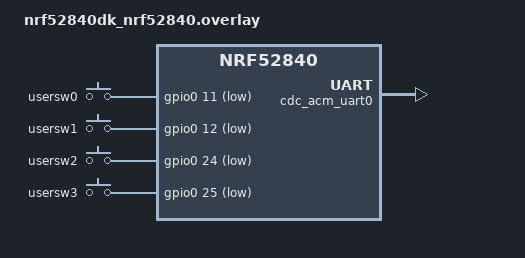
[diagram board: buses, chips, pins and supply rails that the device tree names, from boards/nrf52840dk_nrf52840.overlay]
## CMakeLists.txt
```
#
# Copyright (c) 2020 Nordic Semiconductor ASA
#
# SPDX-License-Identifier: LicenseRef-Nordic-5-Clause
#

cmake_minimum_required(VERSION 3.20.0)

find_package(Zephyr REQUIRED HINTS $ENV{ZEPHYR_BASE})

project("Light Switch")

target_sources(app PRIVATE
  src/main.c
)

target_include_directories(app PRIVATE include)
```

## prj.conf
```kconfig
#
# Copyright (c) 2020 Nordic Semiconductor ASA
#
# SPDX-License-Identifier: LicenseRef-Nordic-5-Clause
#

CONFIG_NCS_SAMPLES_DEFAULTS=y

CONFIG_UART_INTERRUPT_DRIVEN=y
CONFIG_GPIO=y

# Make sure printk is not printing to the UART console
CONFIG_CONSOLE=y
CONFIG_UART_CONSOLE=y
CONFIG_SERIAL=n

# Log to RTT over SWD pins (view with J-Link RTT Viewer app)
CONFIG_USE_SEGGER_RTT=y
CONFIG_LOG_BACKEND_RTT=y
CONFIG_LOG_MODE_DEFERRED=y
CONFIG_LOG_BACKEND_RTT_MODE_DROP=y

CONFIG_HEAP_MEM_POOL_SIZE=2048

CONFIG_ZIGBEE=y
CONFIG_ZIGBEE_APP_UTILS=y
CONFIG_ZIGBEE_ROLE_END_DEVICE=y
CONFIG_ZIGBEE_CHANNEL_SELECTION_MODE_MULTI=y

# Enable DK LED and Buttons library
CONFIG_DK_LIBRARY=y

# This example requires more workqueue stack
CONFIG_SYSTEM_WORKQUEUE_STACK_SIZE=2048

# Enable nRF ECB driver
CONFIG_CRYPTO=y
CONFIG_CRYPTO_NRF_ECB=y
CONFIG_CRYPTO_INIT_PRIORITY=80

# Cryptocell is not supported through CSPRNG driver API: NCSDK-4813
CONFIG_ENTROPY_CC3XX=n

# Enable API for powering down unused RAM parts
CONFIG_RAM_POWER_DOWN_LIBRARY=y

#Networking
CONFIG_NET_IPV6=n
CONFIG_NET_IP_ADDR_CHECK=n
CONFIG_NET_UDP=n
```

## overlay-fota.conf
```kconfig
#######################
# Zigbee FOTA overlay #
#######################

# Enable Zigbee FOTA library
CONFIG_ZIGBEE_FOTA=y
CONFIG_ZIGBEE_FOTA_HW_VERSION=52
CONFIG_ZIGBEE_FOTA_ENDPOINT=99
CONFIG_ZIGBEE_FOTA_COMMENT="light-switch"
CONFIG_ZIGBEE_FOTA_LOG_LEVEL_DBG=y

# Since we don't have our own manufacturer ID, use Nordic's ID with a
# custom image number
CONFIG_ZIGBEE_FOTA_MANUFACTURER_ID=0x127F

# 0x7702 devices used an old, incompatible cluster list. Bumped to 0x7703
# because it's not possible to change this with an OTA.
# CONFIG_ZIGBEE_FOTA_IMAGE_TYPE=0x7702
CONFIG_ZIGBEE_FOTA_IMAGE_TYPE=0x7703

# Ensure an MCUboot-compatible binary is generated.
CONFIG_IMG_MANAGER=y
CONFIG_DFU_TARGET_MCUBOOT=y
CONFIG_IMG_ERASE_PROGRESSIVELY=y
CONFIG_ZIGBEE_FOTA_PROGRESS_EVT=y

# Restart OTA updates from the beginning after a reset
CONFIG_DFU_TARGET_STREAM_SAVE_PROGRESS=n

# Increase the number of RX buffers
CONFIG_NRF_802154_RX_BUFFERS=32
```

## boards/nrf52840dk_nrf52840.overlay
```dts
/*
 * Copyright (c) 2020 Nordic Semiconductor ASA
 *
 * SPDX-License-Identifier: LicenseRef-Nordic-5-Clause
 */

/ {
	chosen {
		zephyr,entropy = &rng;
		ncs,zboss-trace-uart = &cdc_acm_uart0;
	};

	usersw {
		compatible = "gpio-keys";

		usersw0: usersw_0 {
			gpios = <&gpio0 11 (GPIO_PULL_UP | GPIO_ACTIVE_LOW)>;
			label = "usersw0";
		};

		usersw1: usersw_1 {
			gpios = <&gpio0 12 (GPIO_PULL_UP | GPIO_ACTIVE_LOW)>;
			label = "usersw1";
		};

		usersw2: usersw_2 {
			gpios = <&gpio0 24 (GPIO_PULL_UP | GPIO_ACTIVE_LOW)>;
			label = "usersw2";
		};

		usersw3: usersw_3 {
			gpios = <&gpio0 25 (GPIO_PULL_UP | GPIO_ACTIVE_LOW)>;
			label = "usersw3";
		};
	};
};

&zephyr_udc0 {
	cdc_acm_uart0: cdc_acm_uart0 {
		compatible = "zephyr,cdc-acm-uart";
		label = "CDC_ACM_0";
	};
};
```

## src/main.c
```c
/*
 * Copyright (c) 2020 Nordic Semiconductor ASA
 *
 * SPDX-License-Identifier: LicenseRef-Nordic-5-Clause
 */

/** @file
 * @brief Dimmer switch for HA profile implementation.
 */

#include <zephyr/device.h>
#include <zephyr/kernel.h>
#include <zephyr/logging/log.h>
#include <zephyr/drivers/gpio.h>
#include <zephyr/sys/__assert.h>
#include <zephyr/sys/reboot.h>

#include <ram_pwrdn.h>
#include <zboss_api.h>
#include <zboss_api_addons.h>
#include <zigbee/zigbee_app_utils.h>
#include <zigbee/zigbee_error_handler.h>
#include <zb_nrf_platform.h>
#include <zb_zcl_level_control.h>

#include "zb_mem_config_custom_max.h"

#define ZB_HA_DEFINE_DEVICE_DIMMER_SWITCH
#include "zb_ha_dimmer_switch.h"

#if CONFIG_ZIGBEE_FOTA
#include <zigbee/zigbee_fota.h>
#include <zephyr/dfu/mcuboot.h>

extern zb_af_endpoint_desc_t zigbee_fota_client_ep;
#endif /* CONFIG_ZIGBEE_FOTA */

#define MAX_INPUT_BUTTONS		6
#define BUTTON_ENDPOINT_BASE		10

// Hold down button0 for 8 seconds to reset the switch
#define RESET_BUTTON			0

/*
 * A lithium AAA cell is about 1200mAh = 4320C (Coulombs).
 * A CR123A is about 1500mAh = 5400C.
 * Steady state power consumption is ~1.5C per day.
 *
 * One single failed rejoin "cycle" consumes ~0.65C.  Repeating these
 * cycles over and over again would quickly drain the battery.
 *
 * So, to conserve battery life, zigbee_app_utils stops rejoin attempts
 * after ZB_DEV_REJOIN_TIMEOUT_MS if the network disappears (like during
 * a power outage).  It will not attempt another rejoin until
 * user_input_indicate() is called.
 *
 * Unfortunately that means that even many hours after the power outage is
 * over, the switch will be temporarily unresponsive to user input.
 * We can work around this by periodically making rejoin attempts, up
 * to a limit.
 */
#define REJOIN_INTERVAL_MS		(60 * 60 * 1000)
#define REJOIN_ATTEMPT_LIMIT		24

// Long press for full brightness
#define DEFAULT_LONG_PRESS_TIME_MS	1000

// Extra long press for device reboot
#define DEFAULT_REBOOT_PRESS_TIME_MS	7000

// Hold down internal SW0 at boot time for factory (NVRAM) reset
#define FACTORY_RESET_DURATION_MS			2000

/* Do not erase NVRAM to save the network parameters after device reboot or
 * power-off. NOTE: If this option is set to ZB_TRUE then do full device erase
 * for all network devices before running other samples.
 */
#define ERASE_PERSISTENT_CONFIG    ZB_FALSE

struct sw {
	zb_uint8_t button_idx;
	const struct gpio_dt_spec *gpio;
	struct k_work button_pressed_work;
	struct k_work button_released_work;
	struct k_timer button_debounce_timer;
	struct k_timer button_press_timer;
	struct gpio_callback button_cb;
	uint64_t press_time;
};
static struct sw button_sw[MAX_INPUT_BUTTONS];

#if DT_NODE_EXISTS(DT_ALIAS(led0_green))
#define USE_LEDS		1
#else
#define USE_LEDS		0
#endif

#define LED_MASK_ACT		BIT(3)
#define LED_MASK_RED		BIT(2)
#define LED_MASK_GREEN		BIT(1)
#define LED_MASK_BLUE		BIT(0)

struct led_state {
	const struct gpio_dt_spec *act_gpio;
	const struct gpio_dt_spec *red_gpio;
	const struct gpio_dt_spec *green_gpio;
	const struct gpio_dt_spec *blue_gpio;

	struct k_timer led_timer;
};
static struct led_state led_state;
static bool is_joined = false;
static int rejoin_timeouts = 0;

static void led_pulse(struct led_state *state, zb_uint32_t mask);

LOG_MODULE_REGISTER(app, LOG_LEVEL_INF);

#define BASIC_MANUF_NAME		"Nordic"
#define BASIC_MODEL_ID			"Light_Switch"

static zb_zcl_basic_attrs_ext_t basic_attr = {
	.zcl_version = ZB_ZCL_BASIC_ZCL_VERSION_DEFAULT_VALUE,
	.power_source = ZB_ZCL_BASIC_POWER_SOURCE_BATTERY,
};

static zb_uint16_t attr_identify_time;

/* Declare attribute list for Basic cluster. */
ZB_ZCL_DECLARE_BASIC_ATTRIB_LIST_EXT(basic_attr_list,
	&basic_attr.zcl_version,
	&basic_attr.app_version,
	&basic_attr.stack_version,
	&basic_attr.hw_version,
	basic_attr.mf_name,
	basic_attr.model_id,
	basic_attr.date_code,
	&basic_attr.power_source,
	basic_attr.location_id,
	&basic_attr.ph_env,
	basic_attr.sw_ver);

/* Declare attribute list for Identify cluster. */
ZB_ZCL_DECLARE_IDENTIFY_ATTRIB_LIST(identify_attr_list, &attr_identify_time);

static zb_zcl_binary_input_attr_values_t binary_input_attr[MAX_INPUT_BUTTONS];

#define DECLARE_ONE_BUTTON_EP(id) \
	ZB_ZCL_DECLARE_BINARY_INPUT_ATTRIB_LIST(binary_input_attr_list_## id, \
		&binary_input_attr[id].out_of_service, \
		&binary_input_attr[id].present_value, \
		&binary_input_attr[id].status_flags); \
	ZB_HA_DECLARE_DIMMER_SWITCH_CLUSTER_LIST(dimmer_switch_clusters_## id, \
						 basic_attr_list, \
						 identify_attr_list, \
						 binary_input_attr_list_## id); \
	ZB_HA_DECLARE_DIMMER_SWITCH_EP(dimmer_switch_ep_## id, \
				       BUTTON_ENDPOINT_BASE + id, \
				       dimmer_switch_clusters_## id)

DECLARE_ONE_BUTTON_EP(0);

// HACK: defining two of the same endpoints causes a redefinition error
#undef ZB_DECLARE_SIMPLE_DESC
#define ZB_DECLARE_SIMPLE_DESC(...)

DECLARE_ONE_BUTTON_EP(1);
DECLARE_ONE_BUTTON_EP(2);
DECLARE_ONE_BUTTON_EP(3);
DECLARE_ONE_BUTTON_EP(4);
DECLARE_ONE_BUTTON_EP(5);

/*
 * Declare application's device context (list of registered endpoints)
 *
 * Expanded from the ZBOSS_DECLARE_DEVICE_CTX_4_EP macro in zboss_api_af.h
 * because we have more than 4 endpoints:
 */
ZB_AF_START_DECLARE_ENDPOINT_LIST(ep_list)
#ifdef CONFIG_ZIGBEE_FOTA
	&zigbee_fota_client_ep,
#endif
	&dimmer_switch_ep_0,
	&dimmer_switch_ep_1,
	&dimmer_switch_ep_2,
	&dimmer_switch_ep_3,
	&dimmer_switch_ep_4,
	&dimmer_switch_ep_5,
ZB_AF_FINISH_DECLARE_ENDPOINT_LIST;
ZBOSS_DECLARE_DEVICE_CTX(dimmer_switch_ctx, ep_list,
	(ZB_ZCL_ARRAY_SIZE(ep_list, zb_af_endpoint_desc_t*)));

#ifdef CONFIG_ZIGBEE_FOTA
static void confirm_image(void)
{
	if (!boot_is_img_confirmed()) {
		int ret = boot_write_img_confirmed();

		if (ret) {
			LOG_ERR("Couldn't confirm image: %d", ret);
		} else {
			LOG_INF("Marked image as OK");
		}
	}
}

static void ota_evt_handler(const struct zigbee_fota_evt *evt)
{
	switch (evt->id) {
	case ZIGBEE_FOTA_EVT_PROGRESS:
		//dk_set_led(OTA_ACTIVITY_LED, evt->dl.progress % 2);
		break;

	case ZIGBEE_FOTA_EVT_FINISHED:
		LOG_INF("Reboot application.");
		sys_reboot(SYS_REBOOT_COLD);
		break;

	case ZIGBEE_FOTA_EVT_ERROR:
		LOG_ERR("OTA image transfer failed.");
		break;

	default:
		break;
	}
}
#endif /* CONFIG_ZIGBEE_FOTA */

static void device_clusters_attr_init(void)
{
	ZB_ZCL_SET_STRING_VAL(
		basic_attr.mf_name,
		BASIC_MANUF_NAME,
		ZB_ZCL_STRING_CONST_SIZE(BASIC_MANUF_NAME));

	ZB_ZCL_SET_STRING_VAL(
		basic_attr.model_id,
		BASIC_MODEL_ID,
		ZB_ZCL_STRING_CONST_SIZE(BASIC_MODEL_ID));

	ZB_ZCL_SET_STRING_VAL(
		basic_attr.date_code,
		CONFIG_DATE_CODE,
		ZB_ZCL_STRING_CONST_SIZE(CONFIG_DATE_CODE));

	for (int i = 0; i < MAX_INPUT_BUTTONS; i++) {
		binary_input_attr[i].out_of_service =
			ZB_ZCL_BINARY_INPUT_OUT_OF_SERVICE_DEFAULT_VALUE;
		binary_input_attr[i].present_value = ZB_FALSE;
		binary_input_attr[i].status_flags =
			ZB_ZCL_BINARY_INPUT_STATUS_FLAG_NORMAL;
	}

#ifdef CONFIG_ZIGBEE_FOTA
	ZB_ZCL_SET_STRING_VAL(
		basic_attr.sw_ver,
		CONFIG_MCUBOOT_IMAGE_VERSION,
		ZB_ZCL_STRING_CONST_SIZE(CONFIG_MCUBOOT_IMAGE_VERSION));

	LOG_INF("FW version: %s (%s)", CONFIG_MCUBOOT_IMAGE_VERSION, CONFIG_DATE_CODE);
#endif
}

/**@brief Zigbee stack event handler.
 *
 * @param[in]   bufid   Reference to the Zigbee stack buffer
 *                      used to pass signal.
 */
void zboss_signal_handler(zb_bufid_t bufid)
{
	zb_zdo_app_signal_hdr_t    *sig_hndler = NULL;
	zb_zdo_app_signal_type_t    sig = zb_get_app_signal(bufid, &sig_hndler);
	zb_ret_t                    status = ZB_GET_APP_SIGNAL_STATUS(bufid);

#ifdef CONFIG_ZIGBEE_FOTA
	/* Pass signal to the OTA client implementation. */
	zigbee_fota_signal_handler(bufid);
#endif /* CONFIG_ZIGBEE_FOTA */

	switch (sig) {
	case ZB_BDB_SIGNAL_DEVICE_REBOOT:
	/* fall-through */
	case ZB_BDB_SIGNAL_STEERING:
		/* Call default signal handler. */
		ZB_ERROR_CHECK(zigbee_default_signal_handler(bufid));

		if (status == RET_OK) {
			led_pulse(&led_state, LED_MASK_GREEN);
			is_joined = true;
			rejoin_timeouts = 0;
		} else {
			is_joined = false;
		}
		break;
	case ZB_BDB_SIGNAL_TC_REJOIN_DONE:
		ZB_ERROR_CHECK(zigbee_default_signal_handler(bufid));
		if (status == RET_OK)
			break;
		if (rejoin_timeouts >= REJOIN_ATTEMPT_LIMIT)
			break;

		rejoin_timeouts++;
		ZB_ERROR_CHECK(ZB_SCHEDULE_APP_ALARM(
			(zb_callback_t)user_input_indicate, 0,
			ZB_MILLISECONDS_TO_BEACON_INTERVAL(
				REJOIN_INTERVAL_MS)));
		break;

	case ZB_ZDO_SIGNAL_LEAVE:
		/* Call default signal handler. */
		ZB_ERROR_CHECK(zigbee_default_signal_handler(bufid));
		break;

	default:
		/* Call default signal handler. */
		ZB_ERROR_CHECK(zigbee_default_signal_handler(bufid));
		break;
	}

	if (bufid) {
		zb_buf_free(bufid);
	}
}

#define FLAG_INITIAL_PRESS		0x0000
#define FLAG_LONG_PRESS			0x8000
#define FLAG_COLOR_TEMP			0x4000
#define FLAG_RELEASE			0x2000
#define FLAG_MASK			0xff00

#define NEUTRAL_MIRED			370

static void set_binary_input_attr(zb_uint16_t target_idx, zb_bool_t new_state)
{
	ZB_ZCL_SET_ATTRIBUTE(BUTTON_ENDPOINT_BASE + target_idx,
		ZB_ZCL_CLUSTER_ID_BINARY_INPUT,
		ZB_ZCL_CLUSTER_SERVER_ROLE,
		ZB_ZCL_ATTR_BINARY_INPUT_PRESENT_VALUE_ID,
		(zb_uint8_t *)&new_state,
		ZB_FALSE);
}

static void invoke_light_switch_sender(zb_uint16_t idx_and_flags);

static void light_switch_send_on_off(zb_bufid_t bufid, zb_uint16_t idx_and_flags)
{
	// see https://devzone.nordicsemi.com/f/nordic-q-a/88820/zigbee-traces-use-the-wrong-log-level
	// "To send a packet to all matching devices in the binding table,
	// the correct approach would be..."
	const zb_uint16_t short_addr = 0;
	const zb_uint8_t endpoint = 0;
	const zb_uint8_t addr_mode = ZB_APS_ADDR_MODE_DST_ADDR_ENDP_NOT_PRESENT;

	zb_uint16_t target_idx = idx_and_flags & ~FLAG_MASK;

	if (idx_and_flags & FLAG_RELEASE) {
		set_binary_input_attr(target_idx, false);
		zb_buf_free(bufid);
		return;
	} else {
		set_binary_input_attr(target_idx, true);
	}

	if (idx_and_flags & FLAG_LONG_PRESS) {
		LOG_INF("button%d: send FULL BRIGHTNESS command", target_idx);

		ZB_ZCL_LEVEL_CONTROL_SEND_MOVE_TO_LEVEL_CMD(bufid,
			short_addr,
			addr_mode,
			endpoint,
			BUTTON_ENDPOINT_BASE + target_idx,
			ZB_AF_HA_PROFILE_ID,
			ZB_ZCL_DISABLE_DEFAULT_RESPONSE,
			NULL,
			ZB_ZCL_LEVEL_CONTROL_LEVEL_MAX_VALUE,
			0,
			ZB_ZCL_CMD_LEVEL_CONTROL_MOVE_TO_LEVEL_WITH_ON_OFF);

		// After setting full brightness, schedule another call
		// to switch to a neutral color temperature
		invoke_light_switch_sender(target_idx | FLAG_COLOR_TEMP);
	} else if (idx_and_flags & FLAG_COLOR_TEMP) {
		LOG_INF("button%d: send MOVE TO COLOR command", target_idx);

		ZB_ZCL_COLOR_CONTROL_SEND_MOVE_TO_COLOR_TEMPERATURE_REQ(bufid,
			short_addr,
			addr_mode,
			endpoint,
			BUTTON_ENDPOINT_BASE + target_idx,
			ZB_AF_HA_PROFILE_ID,
			ZB_ZCL_DISABLE_DEFAULT_RESPONSE,
			NULL,
			NEUTRAL_MIRED,
			0);
	} else {
		LOG_INF("button%d: send TOGGLE command", target_idx);

		ZB_ZCL_ON_OFF_SEND_TOGGLE_REQ(bufid,
			short_addr,
			addr_mode,
			endpoint,
			BUTTON_ENDPOINT_BASE + target_idx,
			ZB_AF_HA_PROFILE_ID,
			ZB_ZCL_DISABLE_DEFAULT_RESPONSE,
			NULL);
	}
	led_pulse(&led_state, LED_MASK_RED | LED_MASK_GREEN);
}

static void invoke_light_switch_sender(zb_uint16_t idx_and_flags)
{
	zb_ret_t zb_err_code = zb_buf_get_out_delayed_ext(
		light_switch_send_on_off,
		idx_and_flags,
		0);
	__ASSERT(zb_err_code == RET_OK, "error allocating ZBOSS buffer");
}

static void button_long_press_handler(struct k_timer *work)
{
	struct sw *sw = CONTAINER_OF(work, struct sw, button_press_timer);
	int64_t duration = k_uptime_get() - sw->press_time;

	if (duration >= DEFAULT_REBOOT_PRESS_TIME_MS) {
		if (sw->button_idx == RESET_BUTTON) {
			sys_reboot(SYS_REBOOT_COLD);
		}
	} else if (duration >= DEFAULT_LONG_PRESS_TIME_MS) {
		const k_timeout_t additional_time = K_MSEC(
			DEFAULT_REBOOT_PRESS_TIME_MS - DEFAULT_LONG_PRESS_TIME_MS);
		invoke_light_switch_sender(sw->button_idx | FLAG_LONG_PRESS);
		k_timer_start(&sw->button_press_timer, additional_time, K_NO_WAIT);
	}
}

static void button_pressed_worker(struct k_work *work)
{
	struct sw *sw = CONTAINER_OF(work, struct sw, button_pressed_work);

	/*
	 * If the stack gave up on rejoining (probably due to a power failure)
	 * and *then* the user hit a button when is_joined is still false,
	 * reboot immediately.  The first keypress is lost but if the routers
	 * are back up, the switch should reconnect ASAP.
	 */
	if (rejoin_timeouts) {
		sys_reboot(SYS_REBOOT_COLD);
	}

	/* Inform default signal handler about user input at the device. */
	user_input_indicate();
	if (is_joined) {
		invoke_light_switch_sender(sw->button_idx | FLAG_INITIAL_PRESS);
	} else {
		led_pulse(&led_state, LED_MASK_RED);
	}
}

static void button_released_worker(struct k_work *work)
{
	struct sw *sw = CONTAINER_OF(work, struct sw, button_released_work);

	invoke_light_switch_sender(sw->button_idx | FLAG_RELEASE);
}

static void button_debounce_handler(struct k_timer *work)
{
	struct sw *sw = CONTAINER_OF(work, struct sw, button_debounce_timer);

	int val = gpio_pin_get_dt(sw->gpio);
	if (val) {
		sw->press_time = k_uptime_get();
		k_timer_start(&sw->button_press_timer,
			K_MSEC(DEFAULT_LONG_PRESS_TIME_MS), K_NO_WAIT);
		k_work_submit(&sw->button_pressed_work);
	} else {
		k_timer_stop(&sw->button_press_timer);
		k_work_submit(&sw->button_released_work);
	}
}

static void button_pressed(const struct device *dev, struct gpio_callback *cb,
			   uint32_t pin_pos)
{
	struct sw *sw = CONTAINER_OF(cb, struct sw, button_cb);

	// Wait a bit after the last transition, then sample the value to see
	// whether it was a press or release event
	k_timer_start(&sw->button_debounce_timer, K_MSEC(50), K_NO_WAIT);
}

static void configure_button(struct sw *sw,
			     zb_uint8_t button_idx,
			     const struct gpio_dt_spec *gpio)
{
	memset(sw, 0, sizeof(sw));

	sw->gpio = gpio;
	sw->button_idx = button_idx;

	k_work_init(&sw->button_pressed_work, button_pressed_worker);
	k_work_init(&sw->button_released_work, button_released_worker);
	k_timer_init(&sw->button_debounce_timer, button_debounce_handler, NULL);
	k_timer_init(&sw->button_press_timer, button_long_press_handler, NULL);

	gpio_pin_configure_dt(gpio, GPIO_INPUT);
	gpio_pin_interrupt_configure_dt(gpio, GPIO_INT_EDGE_BOTH);
	gpio_init_callback(&sw->button_cb, button_pressed, BIT(gpio->pin));
	gpio_add_callback(gpio->port, &sw->button_cb);
}

static void configure_buttons(void)
{
#if DT_NODE_EXISTS(DT_NODELABEL(usersw0))
	static const struct gpio_dt_spec usersw0 =
		GPIO_DT_SPEC_GET(DT_NODELABEL(usersw0), gpios);
	configure_button(&button_sw[0], 0, &usersw0);
#endif

#if DT_NODE_EXISTS(DT_NODELABEL(usersw1))
	static const struct gpio_dt_spec usersw1 =
		GPIO_DT_SPEC_GET(DT_NODELABEL(usersw1), gpios);
	configure_button(&button_sw[1], 1, &usersw1);
#endif

#if DT_NODE_EXISTS(DT_NODELABEL(usersw2))
	static const struct gpio_dt_spec usersw2 =
		GPIO_DT_SPEC_GET(DT_NODELABEL(usersw2), gpios);
	configure_button(&button_sw[2], 2, &usersw2);
#endif

#if DT_NODE_EXISTS(DT_NODELABEL(usersw3))
	static const struct gpio_dt_spec usersw3 =
		GPIO_DT_SPEC_GET(DT_NODELABEL(usersw3), gpios);
	configure_button(&button_sw[3], 3, &usersw3);
#endif

#if DT_NODE_EXISTS(DT_NODELABEL(usersw4))
	static const struct gpio_dt_spec usersw4 =
		GPIO_DT_SPEC_GET(DT_NODELABEL(usersw4), gpios);
	configure_button(&button_sw[4], 4, &usersw4);
#endif

#if DT_NODE_EXISTS(DT_NODELABEL(usersw5))
	static const struct gpio_dt_spec usersw5 =
		GPIO_DT_SPEC_GET(DT_NODELABEL(usersw5), gpios);
	configure_button(&button_sw[5], 5, &usersw5);
#endif
}

static void led_pulse(struct led_state *state, zb_uint32_t mask)
{
#if USE_LEDS
	gpio_pin_set_dt(state->act_gpio, !!(mask & LED_MASK_ACT));
	gpio_pin_set_dt(state->red_gpio, !!(mask & LED_MASK_RED));
	gpio_pin_set_dt(state->green_gpio, !!(mask & LED_MASK_GREEN));
	gpio_pin_set_dt(state->blue_gpio, !!(mask & LED_MASK_BLUE));

	if (mask) {
		k_timer_start(&state->led_timer, K_MSEC(50), K_NO_WAIT);
	}
#endif
}

static void led_timeout(struct k_timer *work)
{
	struct led_state *state =
		CONTAINER_OF(work, struct led_state, led_timer);
	led_pulse(state, 0);
}

static void configure_leds(struct led_state *state)
{
	k_timer_init(&state->led_timer, led_timeout, NULL);

#if USE_LEDS
	static const struct gpio_dt_spec act_gpio =
		GPIO_DT_SPEC_GET(DT_ALIAS(led0_green), gpios);
	state->act_gpio = &act_gpio;
	gpio_pin_configure_dt(&act_gpio, GPIO_OUTPUT_INACTIVE);

	static const struct gpio_dt_spec red_gpio =
		GPIO_DT_SPEC_GET(DT_ALIAS(led1_red), gpios);
	state->red_gpio = &red_gpio;
	gpio_pin_configure_dt(&red_gpio, GPIO_OUTPUT_INACTIVE);

	static const struct gpio_dt_spec green_gpio =
		GPIO_DT_SPEC_GET(DT_ALIAS(led1_green), gpios);
	state->green_gpio = &green_gpio;
	gpio_pin_configure_dt(&green_gpio, GPIO_OUTPUT_INACTIVE);

	static const struct gpio_dt_spec blue_gpio =
		GPIO_DT_SPEC_GET(DT_ALIAS(led1_blue), gpios);
	state->blue_gpio = &blue_gpio;
	gpio_pin_configure_dt(&blue_gpio, GPIO_OUTPUT_INACTIVE);
#endif /* USE_LEDS */
}

static void reset_on_sw1(void)
{
#if USE_LEDS
	static const struct gpio_dt_spec sw0_gpio =
		GPIO_DT_SPEC_GET(DT_ALIAS(sw0), gpios);
	gpio_pin_configure_dt(&sw0_gpio, GPIO_INPUT);

	static const struct gpio_dt_spec led_gpio =
		GPIO_DT_SPEC_GET(DT_ALIAS(led1_red), gpios);
	gpio_pin_configure_dt(&led_gpio, GPIO_OUTPUT_INACTIVE);

	// If the button is held down at boot time,
	// erase zb_nvram without starting Zigbee (in case NVRAM is
	// corrupt and causing ZBOSS assertions)
	k_sleep(K_MSEC(1));

	uint32_t start_time = k_uptime_get_32();
	while (gpio_pin_get_dt(&sw0_gpio)) {
		gpio_pin_set_dt(&led_gpio, 1);

		uint32_t now = k_uptime_get_32();
		if ((now - start_time) > FACTORY_RESET_DURATION_MS) {
			zb_nvram_erase();
			gpio_pin_set_dt(&led_gpio, 0);
			k_sleep(K_SECONDS(2));
			sys_reboot(SYS_REBOOT_COLD);
		}
	}
	gpio_pin_set_dt(&led_gpio, 0);
#endif
}

void main(void)
{
	LOG_INF("Starting SED light switch");

	/* Initialize. */
	reset_on_sw1();
	configure_buttons();
	configure_leds(&led_state);

	zigbee_erase_persistent_storage(ERASE_PERSISTENT_CONFIG);
	zb_set_ed_timeout(ED_AGING_TIMEOUT_64MIN);

	// Defaults to 5s
	//zb_set_keepalive_timeout(ZB_MILLISECONDS_TO_BEACON_INTERVAL(3000));
	zigbee_configure_sleepy_behavior(true);
	power_down_unused_ram();

#ifdef CONFIG_ZIGBEE_FOTA
	/* Initialize Zigbee FOTA download service. */
	zigbee_fota_init(ota_evt_handler);

	/* Mark the current firmware as valid. */
	confirm_image();

	/* Register callback for handling ZCL commands. */
	ZB_ZCL_REGISTER_DEVICE_CB(zigbee_fota_zcl_cb);
#endif /* CONFIG_ZIGBEE_FOTA */

	/* Register dimmer switch device context (endpoints). */
	ZB_AF_REGISTER_DEVICE_CTX(&dimmer_switch_ctx);

	device_clusters_attr_init();

	/* Start Zigbee default thread. */
	zigbee_enable();

	LOG_INF("SED light switch started");

	while (1) {
		k_sleep(K_FOREVER);
	}
}
```

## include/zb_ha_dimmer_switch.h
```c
/*
 * Originally from: v1.9.1/nrfxlib/zboss/production/include/ha/zb_ha_dimmer_switch.h
 *
 * Then added:
 *  - Binary switch cluster
 *  - Color control cluster
 */
/*
 * ZBOSS Zigbee 3.0
 *
 * Copyright (c) 2012-2020 DSR Corporation, Denver CO, USA.
 * www.dsr-zboss.com
 * www.dsr-corporation.com
 * All rights reserved.
 *
 *
 * Use in source and binary forms, redistribution in binary form only, with
 * or without modification, are permitted provided that the following conditions
 * are met:
 *
 * 1. Redistributions in binary form, except as embedded into a Nordic
 *    Semiconductor ASA integrated circuit in a product or a software update for
 *    such product, must reproduce the above copyright notice, this list of
 *    conditions and the following disclaimer in the documentation and/or other
 *    materials provided with the distribution.
 *
 * 2. Neither the name of Nordic Semiconductor ASA nor the names of its
 *    contributors may be used to endorse or promote products derived from this
 *    software without specific prior written permission.
 *
 * 3. This software, with or without modification, must only be used with a Nordic
 *    Semiconductor ASA integrated circuit.
 *
 * 4. Any software provided in binary form under this license must not be reverse
 *    engineered, decompiled, modified and/or disassembled.
 *
 * THIS SOFTWARE IS PROVIDED BY NORDIC SEMICONDUCTOR ASA "AS IS" AND ANY EXPRESS OR
 * IMPLIED WARRANTIES, INCLUDING, BUT NOT LIMITED TO, THE IMPLIED WARRANTIES OF
 * MERCHANTABILITY, NONINFRINGEMENT, AND FITNESS FOR A PARTICULAR PURPOSE ARE
 * DISCLAIMED. IN NO EVENT SHALL NORDIC SEMICONDUCTOR ASA OR CONTRIBUTORS BE LIABLE
 * FOR ANY DIRECT, INDIRECT, INCIDENTAL, SPECIAL, EXEMPLARY, OR CONSEQUENTIAL
 * DAMAGES (INCLUDING, BUT NOT LIMITED TO, PROCUREMENT OF SUBSTITUTE GOODS OR
 * SERVICES; LOSS OF USE, DATA, OR PROFITS; OR BUSINESS INTERRUPTION) HOWEVER
 * CAUSED AND ON ANY THEORY OF LIABILITY, WHETHER IN CONTRACT, STRICT LIABILITY, OR
 * TORT (INCLUDING NEGLIGENCE OR OTHERWISE) ARISING IN ANY WAY OUT OF THE USE OF
 * THIS SOFTWARE, EVEN IF ADVISED OF THE POSSIBILITY OF SUCH DAMAGE.
 */
/* PURPOSE: Dimmer Switch device definition
*/

#ifndef ZB_HA_DIMMER_SWITCH_H
#define ZB_HA_DIMMER_SWITCH_H 1

#include "zcl/zb_zcl_common.h"
#include "zcl/zb_zcl_commands.h"
#include "zcl/zb_zcl_binary_input.h"

#if defined ZB_HA_DEFINE_DEVICE_DIMMER_SWITCH || defined DOXYGEN

/** @cond DOXYGEN_HA_SECTION */

/**
 *  @defgroup ZB_HA_DEFINE_DEVICE_DIMMER_SWITCH Dimmer Switch
 *  @ingroup ZB_HA_DEVICES
 *  @{
    @details
        - @ref ZB_ZCL_BASIC \n
        - @ref ZB_ZCL_IDENTIFY \n
        - @ref ZB_ZCL_SCENES \n
        - @ref ZB_ZCL_GROUPS \n
        - @ref ZB_ZCL_ON_OFF \n
        - @ref ZB_ZCL_LEVEL_CONTROL

*/

#define ZB_HA_DEVICE_VER_DIMMER_SWITCH 0  /*!< Dimmer Switch device version */

/** @cond internals_doc */

#define ZB_HA_DIMMER_SWITCH_IN_CLUSTER_NUM 3  /*!< Dimmer Switch IN (server) clusters number */
#define ZB_HA_DIMMER_SWITCH_OUT_CLUSTER_NUM 6 /*!< Dimmer Switch OUT (client) clusters number */

/** Dimmer switch total (IN+OUT) cluster number */
#define ZB_HA_DIMMER_SWITCH_CLUSTER_NUM                                             \
  (ZB_HA_DIMMER_SWITCH_IN_CLUSTER_NUM + ZB_HA_DIMMER_SWITCH_OUT_CLUSTER_NUM)

/*! The dimmer switch cluster doesn't use any reporting attributes, so
 * only count those from the binary input cluster */
#define REPORT_ATTR_COUNT ZB_ZCL_BINARY_INPUT_REPORT_ATTR_COUNT

/** @endcond */

/** @brief Declare cluster list for Dimmer Switch device
    @param cluster_list_name - cluster list variable name
    @param basic_attr_list - attribute list for Basic cluster
    @param identify_attr_list - attribute list for Identify cluster
 */
#define ZB_HA_DECLARE_DIMMER_SWITCH_CLUSTER_LIST(  \
    cluster_list_name,                                    \
    basic_attr_list,                                      \
    identify_attr_list,                                   \
    binary_input_attr_list)                               \
zb_zcl_cluster_desc_t cluster_list_name[] =               \
{                                                         \
  ZB_ZCL_CLUSTER_DESC(                                    \
    ZB_ZCL_CLUSTER_ID_IDENTIFY,                           \
    ZB_ZCL_ARRAY_SIZE(identify_attr_list, zb_zcl_attr_t), \
    (identify_attr_list),                                 \
    ZB_ZCL_CLUSTER_SERVER_ROLE,                           \
    ZB_ZCL_MANUF_CODE_INVALID                             \
  ),                                                      \
  ZB_ZCL_CLUSTER_DESC(                                    \
    ZB_ZCL_CLUSTER_ID_BASIC,                              \
    ZB_ZCL_ARRAY_SIZE(basic_attr_list, zb_zcl_attr_t),    \
    (basic_attr_list),                                    \
    ZB_ZCL_CLUSTER_SERVER_ROLE,                           \
    ZB_ZCL_MANUF_CODE_INVALID                             \
  ),                                                      \
  ZB_ZCL_CLUSTER_DESC(                                    \
    ZB_ZCL_CLUSTER_ID_BINARY_INPUT,                       \
    ZB_ZCL_ARRAY_SIZE(binary_input_attr_list, zb_zcl_attr_t), \
    (binary_input_attr_list),                             \
    ZB_ZCL_CLUSTER_SERVER_ROLE,                           \
    ZB_ZCL_MANUF_CODE_INVALID                             \
  ),                                                      \
  ZB_ZCL_CLUSTER_DESC(                                    \
    ZB_ZCL_CLUSTER_ID_IDENTIFY,                           \
    0,                                                    \
    NULL,                                                 \
    ZB_ZCL_CLUSTER_CLIENT_ROLE,                           \
    ZB_ZCL_MANUF_CODE_INVALID                             \
  ),                                                      \
  ZB_ZCL_CLUSTER_DESC(                                    \
    ZB_ZCL_CLUSTER_ID_SCENES,                             \
    0,                                                    \
    NULL,                                                 \
    ZB_ZCL_CLUSTER_CLIENT_ROLE,                           \
    ZB_ZCL_MANUF_CODE_INVALID                             \
  ),                                                      \
  ZB_ZCL_CLUSTER_DESC(                                    \
    ZB_ZCL_CLUSTER_ID_GROUPS,                             \
    0,                                                    \
    NULL,                                                 \
    ZB_ZCL_CLUSTER_CLIENT_ROLE,                           \
    ZB_ZCL_MANUF_CODE_INVALID                             \
  ),                                                      \
  ZB_ZCL_CLUSTER_DESC(                                    \
    ZB_ZCL_CLUSTER_ID_ON_OFF,                             \
    0,                                                    \
    NULL,                                                 \
    ZB_ZCL_CLUSTER_CLIENT_ROLE,                           \
    ZB_ZCL_MANUF_CODE_INVALID                             \
  ),                                                      \
  ZB_ZCL_CLUSTER_DESC(                                    \
    ZB_ZCL_CLUSTER_ID_LEVEL_CONTROL,                      \
    0,                                                    \
    NULL,                                                 \
    ZB_ZCL_CLUSTER_CLIENT_ROLE,                           \
    ZB_ZCL_MANUF_CODE_INVALID                             \
  ),                                                      \
  ZB_ZCL_CLUSTER_DESC(                                    \
    ZB_ZCL_CLUSTER_ID_COLOR_CONTROL,                      \
    0,                                                    \
    NULL,                                                 \
    ZB_ZCL_CLUSTER_CLIENT_ROLE,                           \
    ZB_ZCL_MANUF_CODE_INVALID                             \
  ),                                                      \
}


/** @cond internals_doc */
/** @brief Declare simple descriptor for Dimmer switch device
    @param ep_name - endpoint variable name
    @param ep_id - endpoint ID
    @param in_clust_num - number of supported input clusters
    @param out_clust_num - number of supported output clusters
*/
#define ZB_ZCL_DECLARE_DIMMER_SWITCH_SIMPLE_DESC(                             \
  ep_name, ep_id, in_clust_num, out_clust_num)                                \
  ZB_DECLARE_SIMPLE_DESC(in_clust_num, out_clust_num);                        \
  ZB_AF_SIMPLE_DESC_TYPE(in_clust_num, out_clust_num) simple_desc_##ep_name = \
  {                                                                           \
    ep_id,                                                                    \
    ZB_AF_HA_PROFILE_ID,                                                      \
    ZB_HA_DIMMER_SWITCH_DEVICE_ID,                                            \
    ZB_HA_DEVICE_VER_DIMMER_SWITCH,                                           \
    0,                                                                        \
    in_clust_num,                                                             \
    out_clust_num,                                                            \
    {                                                                         \
      ZB_ZCL_CLUSTER_ID_BASIC,                                                \
      ZB_ZCL_CLUSTER_ID_IDENTIFY,                                             \
      ZB_ZCL_CLUSTER_ID_BINARY_INPUT,                                         \
      ZB_ZCL_CLUSTER_ID_ON_OFF,                                               \
      ZB_ZCL_CLUSTER_ID_LEVEL_CONTROL,                                        \
      ZB_ZCL_CLUSTER_ID_COLOR_CONTROL,                                        \
      ZB_ZCL_CLUSTER_ID_SCENES,                                               \
      ZB_ZCL_CLUSTER_ID_GROUPS,                                               \
      ZB_ZCL_CLUSTER_ID_IDENTIFY,                                             \
    }                                                                         \
  }

/** @endcond */

/** @brief Declare endpoint for Dimmer Switch device
    @param ep_name - endpoint variable name
    @param ep_id - endpoint ID
    @param cluster_list - endpoint cluster list
 */
#define ZB_HA_DECLARE_DIMMER_SWITCH_EP(ep_name, ep_id, cluster_list)                            \
  ZB_ZCL_DECLARE_DIMMER_SWITCH_SIMPLE_DESC(ep_name, ep_id,                                      \
      ZB_HA_DIMMER_SWITCH_IN_CLUSTER_NUM, ZB_HA_DIMMER_SWITCH_OUT_CLUSTER_NUM);                 \
                                                                                                \
  ZBOSS_DEVICE_DECLARE_REPORTING_CTX(                                                           \
    reporting_info## ep_name,                                                                   \
    REPORT_ATTR_COUNT);                                                                         \
                                                                                                \
  ZB_AF_DECLARE_ENDPOINT_DESC(ep_name, ep_id, ZB_AF_HA_PROFILE_ID, 0, NULL,                     \
                          ZB_ZCL_ARRAY_SIZE(cluster_list, zb_zcl_cluster_desc_t), cluster_list, \
                          (zb_af_simple_desc_1_1_t*)&simple_desc_##ep_name,                     \
                          REPORT_ATTR_COUNT,                                                    \
                          reporting_info## ep_name,                                             \
                          0, NULL) /* No CVC ctx */


/*!
  @brief Declare application's device context for Dimmer Switch device
  @param device_ctx - device context variable
  @param ep_name - endpoint variable name
*/

#define ZB_HA_DECLARE_DIMMER_SWITCH_CTX(device_ctx, ep_name) \
  ZBOSS_DECLARE_DEVICE_CTX_1_EP(device_ctx, ep_name)

/*! @} */

/** @endcond */ /* DOXYGEN_HA_SECTION */

typedef struct {
    zb_bool_t out_of_service;
    zb_uint16_t present_value;
    zb_uint8_t status_flags;
} zb_zcl_binary_input_attr_values_t;

#endif /* ZB_HA_DEFINE_DEVICE_DIMMER_SWITCH */

#endif /* ZB_HA_DIMMER_SWITCH_H */
```
